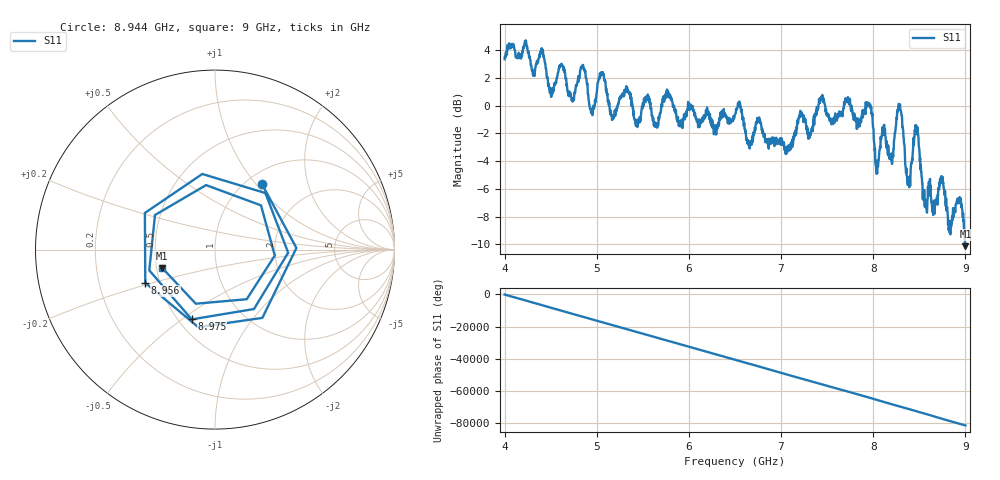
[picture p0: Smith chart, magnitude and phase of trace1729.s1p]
! Created with skrf 1.8.0 (http://scikit-rf.org).
# Hz S RI R 50.0
!freq ReS11 ImS11
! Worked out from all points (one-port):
!   1601 points, 4 GHz to 9 GHz, reference 50 ohm
!   lowest |S11| = -10.1 dB at 9 GHz (marker M1), VSWR 1.90, Z = 26.8 - j6.06 ohm
!   |S11| at or under -10 dB: 8.99827 GHz to end of sweep
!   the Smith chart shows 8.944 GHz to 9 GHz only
!   S11 on the Smith chart (normalised r, x): 8.944 GHz: 1.18, +1.08; 8.956 GHz: 0.42, -0.19; 8.975 GHz: 0.58, -0.54; 9 GHz: 0.54, -0.12
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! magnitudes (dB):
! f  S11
! 4 GHz  3.3
! 4.403 GHz  3.8
! 4.509 GHz  0.7
! 4.625 GHz  2.9
! 4.731 GHz  0.4
! 4.853 GHz  2.9
! 4.944 GHz  -0.5
! 5.05 GHz  2.4
! 5.166 GHz  -1.0
! 5.25 GHz  0.5
! 5.875 GHz  -1.1
! 6.5 GHz  -0.6
! 7.125 GHz  -2.4
! 7.438 GHz  0.4
! 7.75 GHz  0.1
! 7.966 GHz  0.1
! 8.041 GHz  -4.8
! 8.106 GHz  -2.1
! 8.197 GHz  -3.9
! 8.288 GHz  -0.1
! 8.375 GHz  -5.7
! 8.469 GHz  -2.0
! 8.562 GHz  -7.1
! 8.838 GHz  -9.3
! 8.944 GHz  -7.0
! 8.956 GHz  -7.3
! 8.975 GHz  -7.7
! 9 GHz  -10.1
